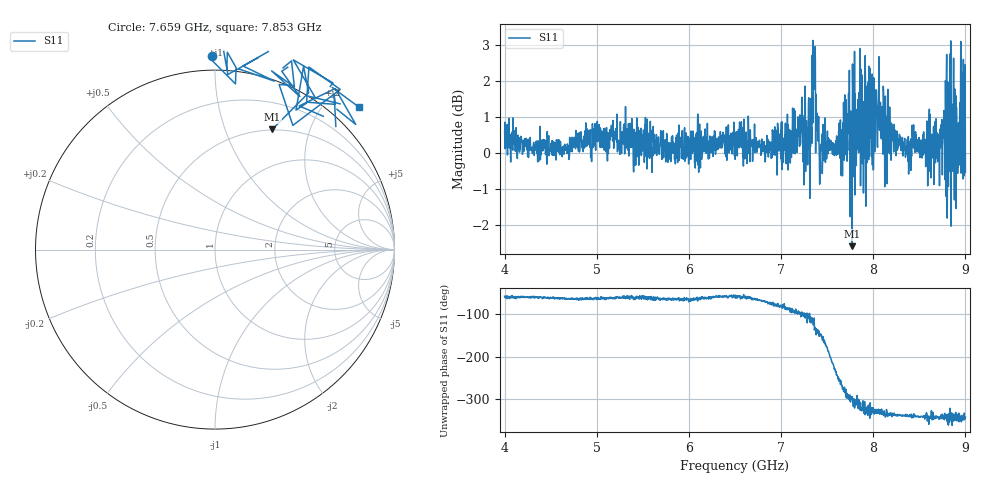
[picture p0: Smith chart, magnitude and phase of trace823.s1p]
! Created with skrf 1.8.0 (http://scikit-rf.org).
# Hz S RI R 50.0
!freq ReS11 ImS11
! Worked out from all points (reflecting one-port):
!   1601 points, 4 GHz to 9 GHz, reference 50 ohm
!   lowest |S11| = -2.6 dB at 7.772 GHz (marker M1), VSWR 6.79, Z = 24.5 + j73.5 ohm
!   phase of S11 starts at -57 deg and turns -287 deg over the sweep
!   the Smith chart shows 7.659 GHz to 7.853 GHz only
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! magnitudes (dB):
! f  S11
! 4 GHz  0.5
! 4.625 GHz  -0.1
! 5.016 GHz  0.7
! 5.25 GHz  0.0
! 5.875 GHz  0.1
! 6.5 GHz  0.5
! 7.031 GHz  0.1
! 7.125 GHz  1.3
! 7.291 GHz  0.7
! 7.362 GHz  2.5
! 7.4 GHz  0.3
! 7.438 GHz  0.1
! 7.594 GHz  0.4
! 7.716 GHz  -0.2
! 7.75 GHz  -1.8
! 7.772 GHz  -2.6
! 7.853 GHz  1.1
! 7.909 GHz  2.5
! 7.928 GHz  0.9
! 7.981 GHz  -0.1
! 8.05 GHz  1.3
! 8.375 GHz  0.2
! 8.444 GHz  0.2
! 8.578 GHz  -0.2
! 8.784 GHz  2.0
! 8.919 GHz  0.3
! 8.972 GHz  0.4
! 9 GHz  -0.5
